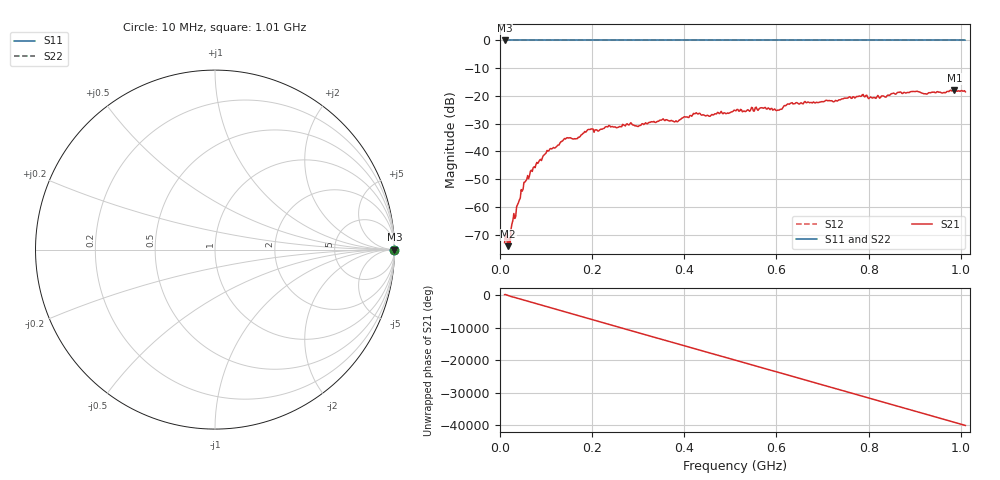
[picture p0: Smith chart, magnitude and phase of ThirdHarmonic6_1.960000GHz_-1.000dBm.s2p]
! 8/16/2025 11:35:36 PM
! C:\ANRITSUVNA\TEMP\TEMP.S2P
! CHANNEL.1
! TR.MEASUREMENT
! RAW.DATA
! RF.CORRECTION.OFF
! AVERAGING.OFF
! IF.BANDWIDTH: 5KHZ
! SWEEPTYPE:  FREQ.SWEEP(Linear)
! Reference Plane Port Info
! PORT:  PORT1  PORT2
! DISTANCE:  0  m  0  m
! TIME:  0  s  0  s
! PHASE.OFFSET:  0  deg.  0  deg.
! LOSS:  0  dB  0  dB
! REF.LOSS:  0  dB  0  dB
! REF.FREQ:  0  Hz  0  Hz
! Power Info
! POWER:  -20  dBm  -20  dBm
! EFF.POWER:  -20  dBm  -20  dBm
! SOURCE.ATTEN:  0  dB  0  dB
! TEST.ATTEN:  0  dB  0  dB
# GHZ S RI R 50.0
! FREQ.GHZ  S11RE  S11IM  S21RE  S21IM  S12RE  S12IM  S22RE  S22IM
!; PortSelection: Port_12
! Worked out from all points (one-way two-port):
!   501 points, 10 MHz to 1.01 GHz, reference 50 ohm
!   highest |S21| = -17.90 dB at 986 MHz (marker M1); lowest = -74.1 dB at 18 MHz (marker M2)
!   lowest |S11| = 0.0 dB at 10 MHz (marker M3)
!   |S11| at or under -10 dB: nowhere
!   |S22| runs from 0.0 to 0.0 dB; largest |S21 - S12| = 1.1
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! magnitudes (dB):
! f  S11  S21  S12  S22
! 10 MHz  0.0  -72.9  0.0  0.0
! 18 MHz  0.0  -74.1  0.0  0.0
! 20 MHz  0.0  -71.2  0.0  0.0
! 28 MHz  0.0  -64.8  0.0  0.0
! 50 MHz  0.0  -53.7  0.0  0.0
! 70 MHz  0.0  -47.2  0.0  0.0
! 106 MHz  0.0  -39.7  0.0  0.0
! 142 MHz  0.0  -35.5  0.0  0.0
! 164 MHz  0.0  -35.4  0.0  0.0
! 178 MHz  0.0  -33.9  0.0  0.0
! 196 MHz  0.0  -32.1  0.0  0.0
! 344 MHz  0.0  -29.1  0.0  0.0
! 382 MHz  0.0  -28.9  0.0  0.0
! 424 MHz  0.0  -26.3  0.0  0.0
! 452 MHz  0.0  -27.1  0.0  0.0
! 510 MHz  0.0  -25.2  0.0  0.0
! 602 MHz  0.0  -25.1  0.0  0.0
! 630 MHz  0.0  -22.7  0.0  0.0
! 678 MHz  0.0  -22.5  0.0  0.0
! 844 MHz  0.0  -19.8  0.0  0.0
! 986 MHz  0.0  -17.9  0.0  0.0
! 1.01 GHz  0.0  -18.5  0.0  0.0
